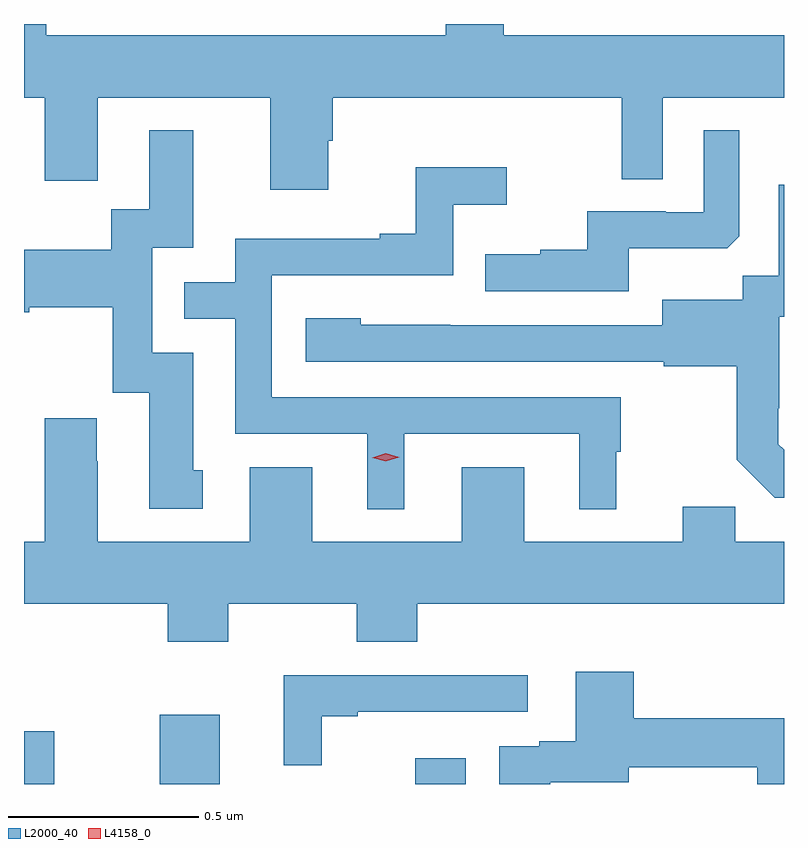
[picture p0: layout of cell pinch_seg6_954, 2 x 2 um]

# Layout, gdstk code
import gdstk
lib = gdstk.Library(unit=1e-6, precision=1e-09)
def R(c, l, rs):  # rectangles x0, y0, x1, y1
    for r in rs: c.add(gdstk.rectangle(r[:2], r[2:], *l))
def P(c, l, *ps):  # polygons
    for p in ps: c.add(gdstk.Polygon(p, *l))
L2000_40 = (2000, 40)
L4158_0 = (4158, 0)

pinch_seg6_954 = lib.new_cell('pinch_seg6_954')
R(pinch_seg6_954, L2000_40, [(222.485,940.202,222.565,940.341), (222.842,940.202,223,940.384), (223.514,940.202,223.648,940.27)])
P(pinch_seg6_954, L2000_40, [(223.285,941.895),(223.298,941.895),(223.298,942.008),(224.058,942.008),(224.058,941.794),(224.166,941.794),(224.166,942.008),(224.485,942.008),(224.485,942.172),(223.748,942.172),(223.748,942.202),(223.595,942.202),(223.595,942.172),(222.544,942.172),(222.544,942.202),(222.485,942.202),(222.485,942.008),(222.539,942.008),(222.539,941.79),(222.679,941.79),(222.679,942.008),(223.133,942.008),(223.133,941.766),(223.285,941.766)],
  [(224.077,941.612),(224.335,941.612),(224.367,941.643),(224.367,941.923),(224.274,941.923),(224.274,941.706),(224.174,941.706),(224.174,941.709),(223.967,941.709),(223.967,941.608),(223.843,941.608),(223.843,941.596),(223.699,941.596),(223.699,941.499),(224.077,941.499)],
  [(222.955,941.028),(222.931,941.028),(222.931,941.337),(222.822,941.337),(222.822,941.613),(222.931,941.613),(222.931,941.923),(222.815,941.923),(222.815,941.714),(222.714,941.714),(222.714,941.608),(222.485,941.608),(222.485,941.444),(222.499,941.444),(222.499,941.456),(222.719,941.456),(222.719,941.232),(222.815,941.232),(222.815,940.926),(222.955,940.926)],
  [(223.486,941.124),(223.946,941.124),(223.946,940.925),(224.044,940.925),(224.044,941.076),(224.056,941.076),(224.056,941.22),(223.137,941.22),(223.137,941.541),(223.614,941.541),(223.614,941.726),(223.756,941.726),(223.756,941.825),(223.516,941.825),(223.516,941.65),(223.421,941.65),(223.421,941.637),(223.041,941.637),(223.041,941.523),(222.907,941.523),(222.907,941.427),(223.041,941.427),(223.041,941.124),(223.388,941.124),(223.388,940.925),(223.486,940.925)],
  [(224.485,941.081),(224.47,941.096),(224.47,941.191),(224.472,941.191),(224.472,941.432),(224.485,941.432),(224.485,941.779),(224.471,941.779),(224.471,941.54),(224.376,941.54),(224.376,941.476),(224.165,941.476),(224.165,941.409),(223.607,941.409),(223.607,941.41),(223.371,941.41),(223.371,941.428),(223.227,941.428),(223.227,941.313),(224.169,941.313),(224.169,941.301),(224.361,941.301),(224.361,941.055),(224.461,940.955),(224.485,940.955)],
  [(223.023,940.676),(223.36,940.676),(223.36,940.577),(223.52,940.577),(223.52,940.676),(224.485,940.676),(224.485,940.84),(224.357,940.84),(224.357,940.931),(224.219,940.931),(224.219,940.84),(223.801,940.84),(223.801,941.035),(223.637,941.035),(223.637,940.84),(223.243,940.84),(223.243,941.035),(223.079,941.035),(223.079,940.84),(222.679,940.84),(222.679,941.051),(222.676,941.051),(222.676,941.164),(222.539,941.164),(222.539,940.84),(222.485,940.84),(222.485,940.676),(222.863,940.676),(222.863,940.577),(223.023,940.577)],
  [(223.87,940.206),(224.077,940.206),(224.077,940.246),(224.415,940.246),(224.415,940.202),(224.485,940.202),(224.485,940.375),(224.09,940.375),(224.09,940.498),(223.937,940.498),(223.937,940.315),(223.841,940.315),(223.841,940.302),(223.736,940.302),(223.736,940.202),(223.87,940.202)],
  [(223.269,940.38),(223.363,940.38),(223.363,940.392),(223.81,940.392),(223.81,940.488),(223.169,940.488),(223.169,940.251),(223.269,940.251)])
P(pinch_seg6_954, L4158_0, [(223.437,941.052),(223.401,941.061),(223.401,941.061),(223.401,941.061),(223.437,941.072),(223.473,941.062),(223.473,941.062),(223.473,941.062)])

lib.write_gds('pinch_seg6_954.gds')
